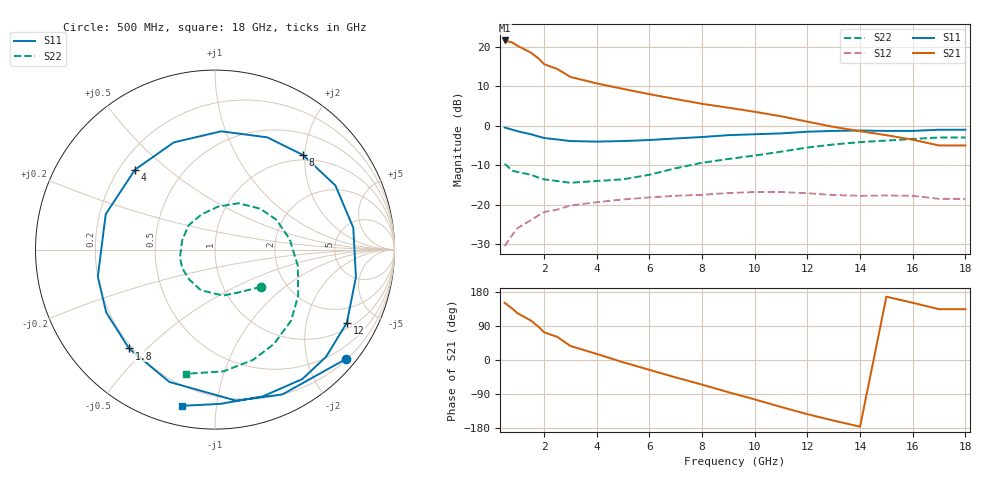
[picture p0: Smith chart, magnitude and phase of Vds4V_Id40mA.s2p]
!ATF-34143
!S-PARAMETERS at Vds=4V  Id=40mA.  LAST UPDATED BY ME BENZATER 04.07.2020 	at 16H00
# ghz s ma r 50
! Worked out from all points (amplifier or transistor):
!   23 points, 500 MHz to 18 GHz, reference 50 ohm
!   highest |S21| = 21.6 dB at 500 MHz (marker M1)
!   |S21| within 3 dB of that: start of sweep to 1.478 GHz
!   unconditionally stable (mu >= 1): 4.499 GHz to end of sweep
!   at 1.5 GHz: K = 0.42, MSG = 21.2 dB, |S12| = -23.9 dB
!   at 7 GHz: K = 1.12, MAG = 10.1 dB, |S12| = -17.7 dB
!   at 18 GHz: K = 1.33, MAG = 3.3 dB, |S12| = -18.5 dB
!   lowest NFmin = 0.10 dB at 500 MHz
!   S11 on the Smith chart (normalised r, x): 500 MHz: 0.22, -2.73; 1.8 GHz: 0.19, -0.44; 4 GHz: 0.26, +0.39; 8 GHz: 0.90, +1.96; 12 GHz: 1.25, -3.45; 18 GHz: 0.10, -0.81
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0.5  0.95 -40.0  11.97 151.0  0.03 68.0  0.33 -39.0
0.8  0.89 -65.0  11.25 135.0  0.042 56.0  0.27 -63.0
1  0.85 -82.0  10.22 123.0  0.051 48.0  0.26 -80.0
1.5  0.78 -109.0  8.405 104.0  0.064 36.0  0.24 -109.0
1.8  0.73 -131.0  7.024 87.0  0.074 27.0  0.22 -131.0
2  0.7 -150.0  6.002 73.0  0.081 19.0  0.21 -150.0
2.5  0.67 -167.0  5.223 61.0  0.087 12.0  0.2 -167.0
3  0.64 162.0  4.141 37.0  0.098 -1.0  0.19 165.0
4  0.63 135.0  3.428 16.0  0.108 -13.0  0.2 138.0
5  0.64 111.0  2.923 -6.0  0.117 -27.0  0.21 111.0
6  0.66 87.0  2.506 -26.0  0.124 -41.0  0.24 86.0
7  0.69 65.0  2.173 -46.0  0.13 -54.0  0.29 63.0
8  0.72 47.0  1.894 -65.0  0.134 -68.0  0.34 42.0
9  0.76 28.0  1.689 -85.0  0.141 -82.0  0.38 26.0
10  0.78 9.0  1.501 -104.0  0.145 -97.0  0.42 8.0
11  0.8 -11.0  1.317 -124.0  0.145 -113.0  0.47 -11.0
12  0.84 -29.0  1.125 -143.0  0.14 -128.0  0.53 -29.0
13  0.86 -44.0  0.966 -160.0  0.133 -141.0  0.58 -43.0
15  0.86 -72.0  0.759 167.0  0.131 -165.0  0.65 -71.0
16  0.86 -88.0  0.666 151.0  0.13 -180.0  0.68 -86.0
17  0.89 -102.0  0.563 134.0  0.119 168.0  0.71 -103.0
18  0.89 -101.8  0.563 134.0  0.119 168.0  0.71 -103.0
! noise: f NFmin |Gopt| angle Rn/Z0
0.5  0.1  0.87  13  0.16
0.9  0.13  0.82  27  0.14
1.5  0.17  0.73  49  0.11
1.8  0.2  0.7  60  0.1
2.5  0.28  0.6  85  0.07
3  0.34  0.54  104  0.05
5  0.57  0.4  180  0.03
6  0.69  0.38  -144  0.05
8  0.94  0.43  -82  0.2
10  1.19  0.62  -40  0.47
